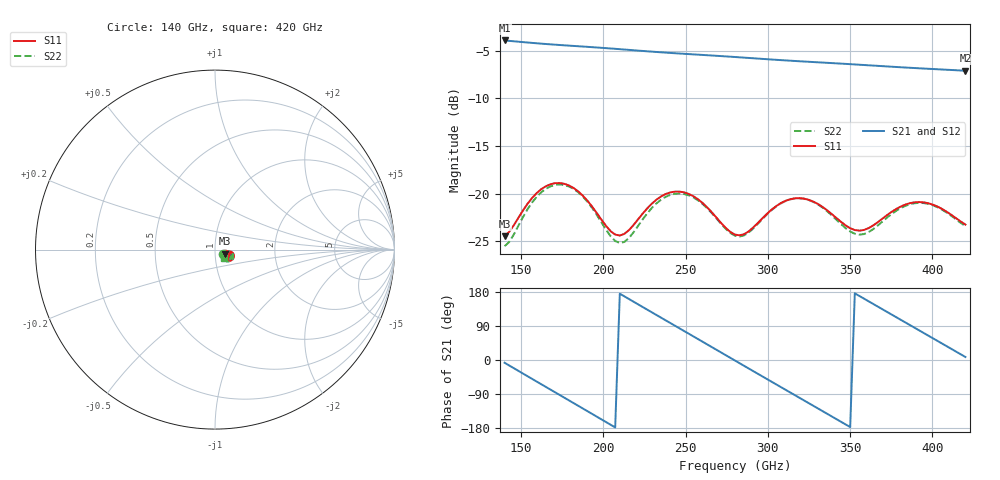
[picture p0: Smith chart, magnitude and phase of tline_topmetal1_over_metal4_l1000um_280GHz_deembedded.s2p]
! Created with skrf 2.2.0 (http://scikit-rf.org).
# GHz S DB R 50.0
! Port[1] = P1
! Port[2] = P2
!freq dBS11 angS11 dBS21 angS21 dBS12 angS12 dBS22 angS22
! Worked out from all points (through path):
!   101 points, 140 GHz to 420 GHz, reference 50 ohm
!   highest |S21| = -3.92 dB at 140 GHz (marker M1); lowest = -7.1 dB at 420 GHz (marker M2)
!   group delay of S21, straight-line fit = 6.99 ps
!   lowest |S11| = -24.5 dB at 140 GHz (marker M3), VSWR 1.13, Z = 55.8 - j2.46 ohm
!   |S11| at or under -10 dB: start of sweep to end of sweep
!   |S22| runs from -25.5 to -19.1 dB; largest |S21 - S12| = 8.5e-13
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140  -24.48 -21.6  -3.92 -7.3  -3.92 -7.3  -25.53 -26.6
151.2  -21.77 -6.7  -4.09 -35.9  -4.09 -35.9  -22.46 -7.3
165.2  -19.22 -16.0  -4.29 -71.4  -4.29 -71.4  -19.49 -16.9
176.4  -18.98 -29.1  -4.43 -99.7  -4.43 -99.7  -19.11 -31.0
187.6  -20.24 -40.2  -4.56 -128.1  -4.56 -128.1  -20.33 -43.6
198.8  -22.74 -41.9  -4.69 -156.6  -4.69 -156.6  -23.01 -47.1
210  -24.41 -25.4  -4.83 175.0  -4.83 175.0  -25.21 -29.8
221.2  -22.69 -11.1  -4.98 146.7  -4.98 146.7  -23.38 -12.1
235.2  -20.29 -16.1  -5.16 111.4  -5.16 111.4  -20.63 -16.8
254.8  -20.29 -35.2  -5.38 62.1  -5.38 62.1  -20.42 -36.8
268.8  -22.54 -41.0  -5.53 26.8  -5.53 26.8  -22.63 -43.5
280  -24.32 -30.8  -5.66 -1.5  -5.66 -1.5  -24.44 -33.7
291.2  -23.55 -16.2  -5.79 -29.6  -5.79 -29.6  -23.66 -19.1
305.2  -21.30 -16.1  -5.95 -64.8  -5.95 -64.8  -21.34 -19.4
316.4  -20.51 -24.5  -6.07 -92.8  -6.07 -92.8  -20.52 -28.4
327.6  -20.85 -33.7  -6.18 -120.8  -6.18 -120.8  -20.88 -38.3
350  -23.65 -33.8  -6.41 -177.0  -6.41 -177.0  -23.99 -39.2
361.2  -23.64 -22.7  -6.53 154.9  -6.53 154.9  -24.06 -26.6
375.2  -21.92 -19.1  -6.68 119.9  -6.68 119.9  -22.15 -22.2
394.8  -20.93 -31.1  -6.87 70.9  -6.87 70.9  -21.01 -35.0
408.8  -21.93 -38.9  -7.00 36.0  -7.00 36.0  -22.02 -43.5
420  -23.26 -37.9  -7.10 8.0  -7.10 8.0  -23.43 -42.8
